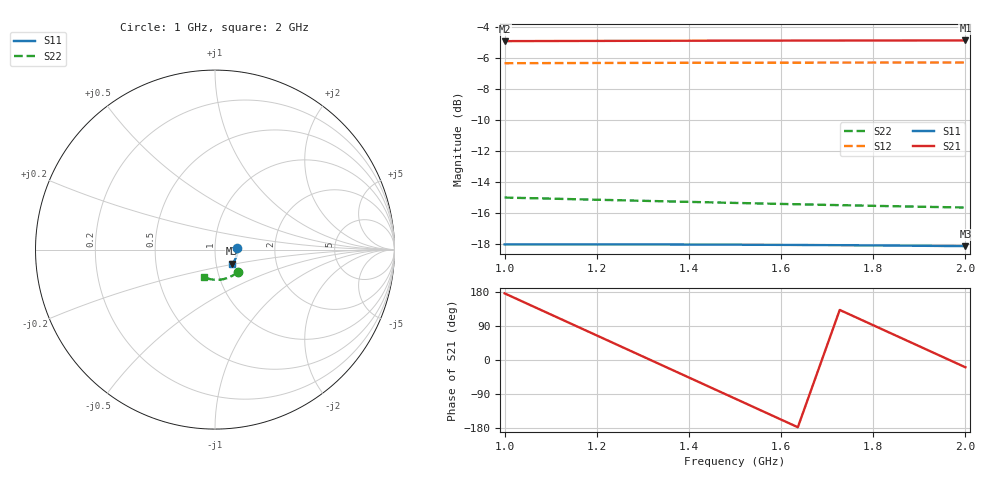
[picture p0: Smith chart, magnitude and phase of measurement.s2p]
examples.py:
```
from __future__ import annotations

import argparse
from pathlib import Path

import numpy as np

from .network import cascade_s


def _network(prefix: str, frequency: np.ndarray) -> np.ndarray:
    normalized = (frequency - 1.0e9) / 1.0e9
    if prefix == "device":
        s11 = 0.10 * np.exp(1j * (0.20 + 0.30 * normalized))
        s22 = 0.22 * np.exp(1j * (-0.50 - 0.15 * normalized))
        s21 = 0.72 * np.exp(1j * (-1.10 - 2.40 * normalized))
        s12 = 0.64 * np.exp(1j * (0.80 + 1.70 * normalized))
    elif prefix == "left":
        s11 = 0.03 * np.exp(1j * (0.40 - normalized))
        s22 = 0.07 * np.exp(1j * (-0.80 + 0.50 * normalized))
        s21 = 0.90 * np.exp(1j * (-0.70 - 3.20 * normalized))
        s12 = 0.88 * np.exp(1j * (0.60 + 2.30 * normalized))
    else:
        s11 = 0.06 * np.exp(1j * (-0.20 + 0.70 * normalized))
        s22 = 0.02 * np.exp(1j * (0.90 - 0.40 * normalized))
        s21 = 0.86 * np.exp(1j * (-1.40 - 4.10 * normalized))
        s12 = 0.84 * np.exp(1j * (1.10 + 3.10 * normalized))
    return np.stack(
        [np.stack([s11, s12], axis=1), np.stack([s21, s22], axis=1)],
        axis=1,
    )


def _line(freq_value: float, matrix: np.ndarray, fmt: str) -> str:
    values = [matrix[0, 0], matrix[1, 0], matrix[0, 1], matrix[1, 1]]
    parts = [f"{freq_value:.12g}"]
    for value in values:
        if fmt == "RI":
            parts.extend([f"{value.real:.15g}", f"{value.imag:.15g}"])
        elif fmt == "MA":
            parts.extend([f"{abs(value):.15g}", f"{np.angle(value, deg=True):.15g}"])
        else:
            parts.extend([f"{20.0 * np.log10(abs(value)):.15g}", f"{np.angle(value, deg=True):.15g}"])
    return " ".join(parts)


def _write(path: Path, frequencies: np.ndarray, matrices: np.ndarray, unit: str, fmt: str) -> None:
    scale = {"Hz": 1.0, "MHz": 1.0e6, "GHz": 1.0e9}[unit]
    lines = [f"! rfdeembed188 example: {path.stem}", f"# {unit} S {fmt} R 50"]
    lines.extend(_line(frequency / scale, matrix, fmt) for frequency, matrix in zip(frequencies, matrices))
    path.write_text("\n".join(lines) + "\n", encoding="utf-8")


def create_examples(output_dir: Path) -> None:
    output_dir.mkdir(parents=True, exist_ok=True)
    measurement_grid = np.linspace(1.0e9, 2.0e9, 12)
    left_grid = np.linspace(0.90e9, 2.10e9, 11)
    right_grid = np.linspace(0.80e9, 2.20e9, 13)
    device = _network("device", measurement_grid)
    left = _network("left", measurement_grid)
    right = _network("right", measurement_grid)
    measurement = np.stack(
        [cascade_s(cascade_s(left[index], device[index]), right[index]) for index in range(measurement_grid.size)]
    )
    _write(output_dir / "measurement.s2p", measurement_grid, measurement, "Hz", "RI")
    _write(output_dir / "device_expected.s2p", measurement_grid, device, "GHz", "RI")
    _write(output_dir / "left_fixture.s2p", left_grid, _network("left", left_grid), "MHz", "MA")
    _write(output_dir / "right_fixture.s2p", right_grid, _network("right", right_grid), "GHz", "DB")


def main() -> None:
    parser = argparse.ArgumentParser(description="Create rfdeembed188 example Touchstone files.")
    parser.add_argument("output_dir", nargs="?", default="examples", type=Path)
    args = parser.parse_args()
    create_examples(args.output_dir)


if __name__ == "__main__":
    main()
```
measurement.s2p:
! rfdeembed188 example: measurement
# Hz S RI R 50
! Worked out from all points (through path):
!   12 points, 1 GHz to 2 GHz, reference 50 ohm
!   highest |S21| = -4.89 dB at 2 GHz (marker M1); lowest = -4.9 dB at 1 GHz (marker M2)
!   lowest |S11| = -18.2 dB at 2 GHz (marker M3), VSWR 1.28, Z = 59.9 - j9.43 ohm
!   |S11| at or under -10 dB: start of sweep to end of sweep
!   |S22| runs from -15.7 to -15.0 dB; largest |S21 - S12| = 1
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1e9  0.1252 0.00634  -0.565 0.0412  -0.3811 0.2934  0.1268 -0.1241
1.090909e9  0.1253 -0.00195  -0.3281 0.4624  -0.4813 0.00464  0.1122 -0.1358
1.181818e9  0.1249 -0.0102  0.1479 0.5477  -0.3872 -0.2864  0.0965 -0.1458
1.272727e9  0.124 -0.0185  0.5169 0.2348  -0.1366 -0.4622  0.0798 -0.1541
1.363636e9  0.1224 -0.0266  0.5104 -0.2493  0.1695 -0.4515  0.0624 -0.1606
1.454545e9  0.1203 -0.0346  0.1327 -0.5527  0.4075 -0.2584  0.0445 -0.1652
1.545455e9  0.1176 -0.0425  -0.3418 -0.4544  0.4811 0.0393  0.0262 -0.1679
1.636364e9  0.1143 -0.0501  -0.5683 -0.0257  0.3605 0.3214  0.00783 -0.1686
1.818182e9  0.1063 -0.0645  0.0824 0.5632  -0.2104 0.4349  -0.0286 -0.1642
1.909091e9  0.1016 -0.0712  0.4868 0.2951  -0.4301 0.2204  -0.0462 -0.1591
2e9  0.0964 -0.0775  0.5376 -0.1875  -0.4761 -0.0833  -0.0631 -0.1522
